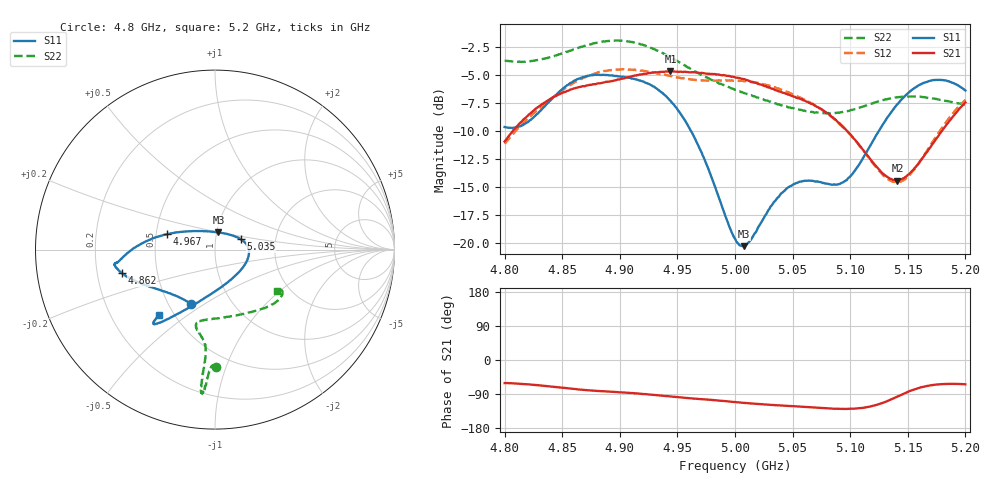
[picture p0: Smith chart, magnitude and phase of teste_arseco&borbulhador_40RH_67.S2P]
! Network Analyzer HP8722D
! Hewlett-Packard
! Data name: Linha & Wilkinson
! Saver's name: Rodrigo Anjos
! Comments: Teste da utilização de aquisição
! continua pelo VNA HP8722D
! Time and date: 15/4/2025 16:54
!  Frequency  S11  S21  S12  S22
# HZ  S  MA R 50
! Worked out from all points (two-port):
!   401 points, 4.8 GHz to 5.2 GHz, reference 50 ohm
!   highest |S21| = -4.65 dB at 4.944 GHz (marker M1); lowest = -14.4 dB at 5.141 GHz (marker M2)
!   |S21| within 3 dB of the highest: 4.831 GHz to 5.069 GHz (237.1 MHz wide, 4.79 % of centre); 5.197943 GHz to end of sweep
!   lowest |S11| = -20.2 dB at 5.008 GHz (marker M3), VSWR 1.22, Z = 51 + j9.82 ohm
!   |S11| at or under -10 dB: 4.962 GHz to 5.125 GHz (162.7 MHz wide, 3.23 % of centre)
!   |S22| runs from -8.4 to -1.9 dB; largest |S21 - S12| = 0.88
!   S11 on the Smith chart (normalised r, x): 4.8 GHz: 0.65, -0.44; 4.862 GHz: 0.31, -0.11; 4.967 GHz: 0.57, +0.11; 5.035 GHz: 1.33, +0.16; 5.2 GHz: 0.41, -0.39
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4.8e9  0.3307 -114.0  0.2849 -61.0  0.2784 -175.2  0.6541 -89.6
4.819e9  0.3456 -133.9  0.3668 -64.0  0.3553 -173.5  0.6482 -91.4
4.84e9  0.4354 -153.2  0.4421 -69.8  0.4411 -173.9  0.6791 -92.7
4.862e9  0.5362 -165.9  0.4943 -76.8  0.5282 -176.7  0.7397 -93.7
4.867e9  0.5493 -167.8  0.5013 -78.5  0.5423 -177.8  0.7542 -93.9
4.899e9  0.5566 -172.3  0.5389 -85.2  0.5969 175.4  0.8026 -95.2
4.934e9  0.4821 -178.2  0.5801 -93.5  0.5734 171.7  0.7188 -95.7
4.944e9  0.4323 177.2  0.5856 -96.4  0.5583 171.9  0.6772 -95.5
4.967e9  0.2808 162.3  0.578 -102.2  0.5354 173.9  0.5781 -95.0
5e9  0.105 105.7  0.5508 -111.1  0.5317 176.3  0.4848 -99.5
5.008e9  0.09726 78.5  0.5394 -113.1  0.529 176.2  0.4684 -101.2
5.035e9  0.1551 21.7  0.4832 -119.1  0.4967 174.9  0.4214 -103.9
5.051e9  0.1837 5.1  0.4517 -121.8  0.4611 174.3  0.4006 -99.8
5.067e9  0.1905 -12.3  0.4189 -124.8  0.4212 173.8  0.3855 -91.7
5.087e9  0.1828 -44.9  0.3578 -128.8  0.3561 173.8  0.3821 -76.6
5.098e9  0.1951 -68.0  0.3152 -129.0  0.3141 174.5  0.3897 -67.5
5.134e9  0.3746 -116.5  0.1954 -106.1  0.1916 -159.0  0.4427 -43.4
5.141e9  0.4181 -120.5  0.1908 -96.3  0.1872 -147.9  0.449 -40.3
5.152e9  0.4769 -124.9  0.2057 -81.5  0.203 -130.9  0.4524 -36.3
5.17e9  0.5324 -128.9  0.2701 -66.8  0.2757 -112.9  0.4449 -32.2
5.184e9  0.5312 -130.1  0.3409 -63.1  0.352 -107.3  0.4319 -31.2
5.2e9  0.4812 -130.6  0.4257 -64.3  0.4371 -106.2  0.4155 -33.6
